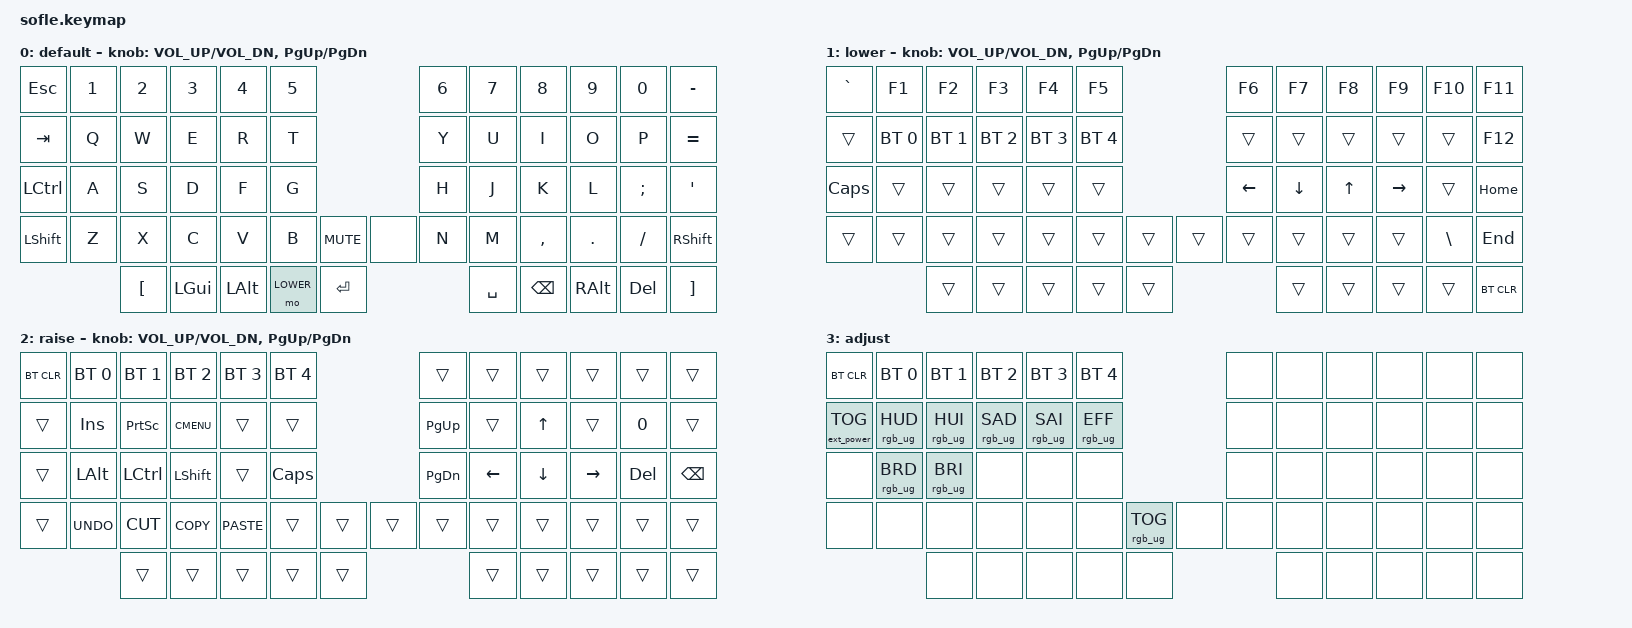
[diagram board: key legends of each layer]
/*
 * Copyright (c) 2020 The ZMK Contributors
 *
 * SPDX-License-Identifier: MIT
 */

#include <behaviors.dtsi>
#include <dt-bindings/zmk/keys.h>
#include <dt-bindings/zmk/bt.h>
#include <dt-bindings/zmk/rgb.h>
#include <dt-bindings/zmk/ext_power.h>

#define BASE 0
#define LOWER 1
#define RAISE 2
#define ADJUST 3

/ {

   // Activate ADJUST layer by pressing raise and lower
    conditional_layers {
        compatible = "zmk,conditional-layers";
        adjust_layer {
            if-layers = <LOWER RAISE>;
            then-layer = <ADJUST>;
        };
    };

    keymap {
        compatible = "zmk,keymap";

        default_layer {
            display-name = "default";
// ------------------------------------------------------------------------------------------------------------
// |  ESC  |  1  |  2  |  3   |  4   |  5   |                   |  6   |  7    |  8    |  9   |   0   |   -   |
// |  TAB  |  Q  |  W  |  E   |  R   |  T   |                   |  Y   |  U    |  I    |  O   |   P   |   =   |
// |  CTRL |  A  |  S  |  D   |  F   |  G   |                   |  H   |  J    |  K    |  L   |   ;   |   '   |
// | SHIFT |  Z  |  X  |  C   |  V   |  B   |  MUTE  |  |       |  N   |  M    |  ,    |  .   |   /   | SHIFT |
//               |  [  | GUI  | LALT  | LOWER|  ENTER |  | SPACE | BKSPC|  ALT  | DEL  |  ]   |
bindings = <
    &kp ESC   &kp N1 &kp N2 &kp N3 &kp N4 &kp N5                     &kp N6 &kp N7 &kp N8    &kp N9  &kp N0   &kp MINUS
    &kp TAB   &kp Q  &kp W  &kp E  &kp R  &kp T                      &kp Y  &kp U  &kp I     &kp O   &kp P    &kp EQUAL
    &kp LCTRL &kp A  &kp S  &kp D  &kp F  &kp G                      &kp H  &kp J  &kp K     &kp L   &kp SEMI &kp SQT
    &kp LSHFT &kp Z  &kp X  &kp C  &kp V  &kp B  &kp C_MUTE &none    &kp N  &kp M  &kp COMMA &kp DOT &kp FSLH &kp RSHFT
                     &kp LBKT &kp LGUI &kp LALT  &mo LOWER &kp ENTER  &kp SPACE &kp BSPC &kp RALT &kp DEL &kp RBKT
>;

            sensor-bindings = <&inc_dec_kp C_VOL_UP C_VOL_DN &inc_dec_kp PG_UP PG_DN>;
        };

        lower_layer {
            display-name = "lower";
// TODO: Some binds are waiting for shifted keycode support.
// ------------------------------------------------------------------------------------------------------------
// |    `  |  F1 |  F2 |  F3  |  F4  |  F5  |                   |  F6  |  F7   |  F8   |  F9  |  F10  |  F11  |
// |       | BT1 | BT2 |  BT3 |  BT4 |  BT5 |                   |      |       |       |      |       |  F12  |
// | CAPS  |     |     |      |      |      |                   |KC_LEFT|KC_DOWN|KC_UP |KC_RIGHT|     |  home |
// |       |     |     |      |      |      |        |  |       |      |       |       |      |   \   |   end |
//               |     |      |      |      |        |  |       |      |       |       | BTCLR|
bindings = <
    &kp GRAVE  &kp F1       &kp F2       &kp F3       &kp F4       &kp F5                       &kp F6     &kp F7   &kp F8   &kp F9    &kp F10  &kp F11
    &trans     &bt BT_SEL 0 &bt BT_SEL 1 &bt BT_SEL 2 &bt BT_SEL 3 &bt BT_SEL 4                     &trans     &trans   &trans   &trans    &trans   &kp F12
    &kp CAPS   &trans       &trans       &trans       &trans       &trans                       &kp LEFT   &kp DOWN &kp UP   &kp RIGHT &trans   &kp HOME
    &trans     &trans       &trans       &trans       &trans       &trans    &trans    &trans   &trans     &trans   &trans   &trans    &kp BSLH &kp END
                            &trans       &trans       &trans       &trans    &trans    &trans   &trans     &trans   &trans   &bt BT_CLR
>;



            sensor-bindings = <&inc_dec_kp C_VOL_UP C_VOL_DN &inc_dec_kp PG_UP PG_DN>;
        };
//
//UNUSED LAYERS:
//
        raise_layer {
            display-name = "raise";
// ------------------------------------------------------------------------------------------------------------
// | BTCLR | BT1  | BT2  |  BT3  |  BT4  |  BT5 |                |      |      |       |      |       |       |
// |       | INS  | PSCR | GUI   |       |      |                | PGUP |      |   ^   |      |       |       |
// |       | ALT  | CTRL | SHIFT |       | CAPS |                | PGDN |   <- |   v   |  ->  |  DEL  | BKSPC |
// |       | UNDO | CUT  | COPY  | PASTE |      |      |  |      |      |      |       |      |       |       |
//                |      |       |       |      |      |  |      |      |      |       |      |
            bindings = <
&bt BT_CLR &bt BT_SEL 0 &bt BT_SEL 1 &bt BT_SEL 2 &bt BT_SEL 3 &bt BT_SEL 4                  &trans    &trans    &trans   &trans    &trans  &trans
&trans     &kp INS      &kp PSCRN    &kp K_CMENU  &trans       &trans                        &kp PG_UP &trans    &kp UP   &trans    &kp N0  &trans
&trans     &kp LALT     &kp LCTRL    &kp LSHFT    &trans       &kp CLCK                      &kp PG_DN &kp LEFT  &kp DOWN &kp RIGHT &kp DEL &kp BSPC
&trans     &kp K_UNDO   &kp K_CUT    &kp K_COPY   &kp K_PASTE  &trans        &trans  &trans  &trans    &trans    &trans   &trans    &trans  &trans
                        &trans       &trans       &trans       &trans        &trans  &trans  &trans    &trans    &trans   &trans
            >;

            sensor-bindings = <&inc_dec_kp C_VOL_UP C_VOL_DN &inc_dec_kp PG_UP PG_DN>;
        };

        adjust_layer {
// ----------------------------------------------------------------------------------------------------------------------------
// | BTCLR  |  BT1    |  BT2    |   BT3   |   BT4   |   BT5   |                  |      |      |       |      |       |       |
// | EXTPWR | RGB_HUD | RGB_HUI | RGB_SAD | RGB_SAI | RGB_EFF |                  |      |      |       |      |       |       |
// |        | RGB_BRD | RGB_BRI |         |         |         |                  |      |      |       |      |       |       |
// |        |         |         |         |         |         | RGB_TOG | |      |      |      |       |      |       |       |
//                    |         |         |         |         |         | |      |      |      |       |      |
            display-name = "adjust";
            bindings = <
&bt BT_CLR        &bt BT_SEL 0    &bt BT_SEL 1    &bt BT_SEL 2    &bt BT_SEL 3    &bt BT_SEL 4                            &none &none &none &none &none &none
&ext_power EP_TOG &rgb_ug RGB_HUD &rgb_ug RGB_HUI &rgb_ug RGB_SAD &rgb_ug RGB_SAI &rgb_ug RGB_EFF                         &none &none &none &none &none &none
&none             &rgb_ug RGB_BRD &rgb_ug RGB_BRI &none           &none           &none                                   &none &none &none &none &none &none
&none             &none           &none           &none           &none           &none            &rgb_ug RGB_TOG &none  &none &none &none &none &none &none
                                  &none           &none           &none           &none            &none           &none  &none &none &none &none
            >;
        };

    };
};
